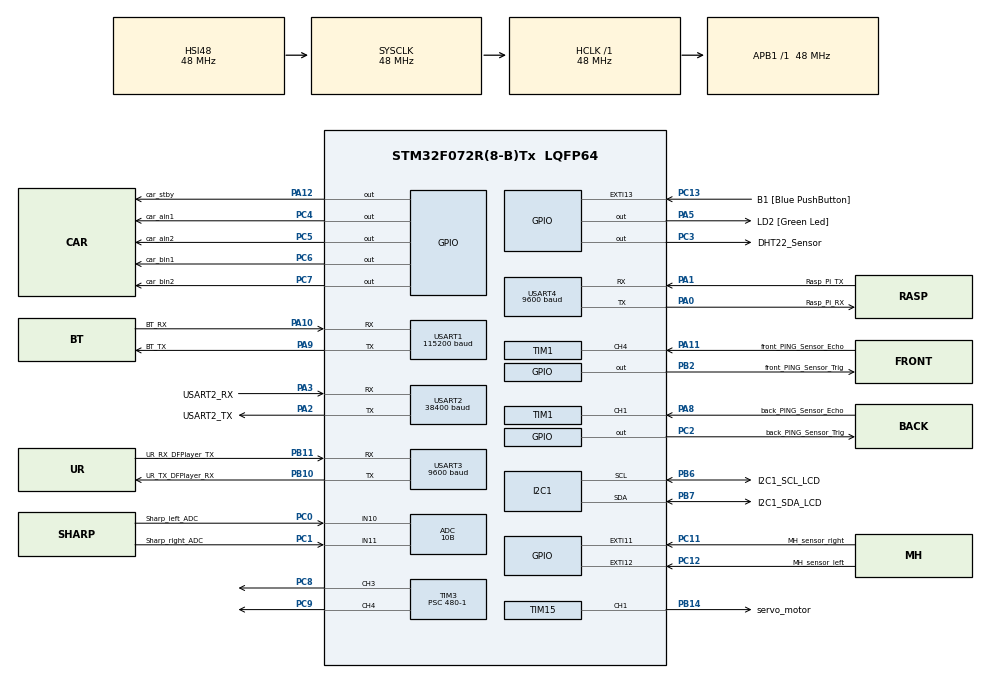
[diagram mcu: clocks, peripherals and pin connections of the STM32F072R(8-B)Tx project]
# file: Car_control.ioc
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ADC.Resolution=ADC_RESOLUTION_10B
ADC.SamplingTime=ADC_SAMPLETIME_7CYCLES_5
Mcu.Family=STM32F0
Mcu.Name=STM32F072R(8-B)Tx
Mcu.Package=LQFP64
NVIC.EXTI4_15_IRQn=true\:3\:0\:true\:false\:true\:true\:false\:true
NVIC.TIM16_IRQn=true\:1\:0\:true\:false\:true\:true\:false\:true
NVIC.TIM1_CC_IRQn=true\:0\:0\:false\:false\:true\:true\:true\:true
NVIC.TIM6_DAC_IRQn=true\:1\:0\:true\:false\:true\:true\:false\:true
NVIC.TIM7_IRQn=true\:2\:0\:true\:false\:true\:true\:false\:true
NVIC.USART1_IRQn=true\:3\:0\:true\:false\:true\:true\:false\:true
NVIC.USART3_4_IRQn=true\:3\:0\:true\:false\:true\:true\:false\:true
PA0.GPIO_Label=Rasp_Pi_RX
PA0.Mode=Asynchronous
PA0.Signal=USART4_TX
PA1.GPIO_Label=Rasp_Pi_TX
PA1.Mode=Asynchronous
PA1.Signal=USART4_RX
PA10.GPIO_Label=BT_RX
PA10.Mode=Asynchronous
PA10.Signal=USART1_RX
PA11.GPIO_Label=front_PING_Sensor_Echo
PA11.GPIO_Speed=GPIO_SPEED_FREQ_LOW
PA11.Signal=S_TIM1_CH4
PA12.GPIO_Label=car_stby
PA12.PinState=GPIO_PIN_SET
PA12.Signal=GPIO_Output
PA13.GPIO_Label=TMS
PA13.Mode=Serial_Wire
PA13.Signal=SYS_SWDIO
PA14.GPIO_Label=TCK
PA14.Mode=Serial_Wire
PA14.Signal=SYS_SWCLK
PA2.GPIO_Label=USART2_TX
PA2.GPIO_Mode=GPIO_MODE_AF_PP
PA2.GPIO_PuPd=GPIO_NOPULL
PA2.GPIO_Speed=GPIO_SPEED_FREQ_LOW
PA2.Mode=Asynchronous
PA2.Signal=USART2_TX
PA3.GPIO_Label=USART2_RX
PA3.GPIO_Mode=GPIO_MODE_AF_PP
PA3.GPIO_PuPd=GPIO_NOPULL
PA3.GPIO_Speed=GPIO_SPEED_FREQ_LOW
PA3.Mode=Asynchronous
PA3.Signal=USART2_RX
PA5.GPIO_Label=LD2 [Green Led]
PA5.GPIO_Mode=GPIO_MODE_OUTPUT_PP
PA5.GPIO_PuPd=GPIO_NOPULL
PA5.GPIO_Speed=GPIO_SPEED_FREQ_LOW
PA5.Signal=GPIO_Output
PA8.GPIO_Label=back_PING_Sensor_Echo
PA8.Signal=S_TIM1_CH1
PA9.GPIO_Label=BT_TX
PA9.Mode=Asynchronous
PA9.Signal=USART1_TX
PB10.GPIO_Label=UR_TX_DFPlayer_RX
PB10.Mode=Asynchronous
PB10.Signal=USART3_TX
PB11.GPIO_Label=UR_RX_DFPlayer_TX
PB11.Mode=Asynchronous
PB11.Signal=USART3_RX
PB14.GPIO_Label=servo_motor
PB14.Signal=S_TIM15_CH1
PB2.GPIO_Label=front_PING_Sensor_Trig
PB2.Signal=GPIO_Output
PB6.GPIO_Label=I2C1_SCL_LCD
PB6.Mode=I2C
PB6.Signal=I2C1_SCL
PB7.GPIO_Label=I2C1_SDA_LCD
PB7.Mode=I2C
PB7.Signal=I2C1_SDA
PC0.GPIO_Label=Sharp_left_ADC
PC0.Mode=IN10
PC0.Signal=ADC_IN10
PC1.GPIO_Label=Sharp_right_ADC
PC1.Mode=IN11
PC1.Signal=ADC_IN11
PC11.GPIO_Label=MH_sensor_right
PC11.GPIO_ModeDefaultEXTI=GPIO_MODE_IT_FALLING
PC11.GPIO_PuPd=GPIO_PULLUP
PC11.Signal=GPXTI11
PC12.GPIO_Label=MH_sensor_left
PC12.GPIO_ModeDefaultEXTI=GPIO_MODE_IT_FALLING
PC12.GPIO_PuPd=GPIO_PULLUP
PC12.Signal=GPXTI12
PC13.GPIO_Label=B1 [Blue PushButton]
PC13.GPIO_ModeDefaultEXTI=GPIO_MODE_IT_FALLING
PC13.Signal=GPXTI13
PC14-OSC32_IN.Mode=LSE-External-Oscillator
PC14-OSC32_IN.Signal=RCC_OSC32_IN
PC15-OSC32_OUT.Mode=LSE-External-Oscillator
PC15-OSC32_OUT.Signal=RCC_OSC32_OUT
PC2.GPIO_Label=back_PING_Sensor_Trig
PC2.Signal=GPIO_Output
PC3.GPIO_Label=DHT22_Sensor
PC3.Signal=GPIO_Output
PC4.GPIO_Label=car_ain1
PC4.Signal=GPIO_Output
PC5.GPIO_Label=car_ain2
PC5.Signal=GPIO_Output
PC6.GPIO_Label=car_bin1
PC6.Signal=GPIO_Output
PC7.GPIO_Label=car_bin2
PC7.Signal=GPIO_Output
PC8.Signal=S_TIM3_CH3
PC9.Signal=S_TIM3_CH4
PF0-OSC_IN.Mode=HSE-External-Clock-Source
PF0-OSC_IN.Signal=RCC_OSC_IN
PF1-OSC_OUT.Signal=RCC_OSC_OUT
ProjectManager.HeapSize=0x200
ProjectManager.StackSize=0x400
ProjectManager.TargetToolchain=MDK-ARM V5.32
RCC.AHBFreq_Value=48000000
RCC.APB1Freq_Value=48000000
RCC.APB1TimFreq_Value=48000000
RCC.FLatency-AdvancedSettings=FLASH_LATENCY_1
RCC.HCLKFreq_Value=48000000
RCC.PLLDivider=RCC_PREDIV_DIV2
RCC.PLLMUL=RCC_PLL_MUL12
RCC.PREFETCH_ENABLE-AdvancedSettings=1
RCC.SYSCLKFreq_VALUE=48000000
RCC.SYSCLKSource=RCC_SYSCLKSOURCE_HSI48
SH.S_TIM15_CH1.0=TIM15_CH1,PWM Generation1 CH1
SH.S_TIM1_CH1.0=TIM1_CH1,Input_Capture1_from_TI1
SH.S_TIM1_CH4.0=TIM1_CH4,Input_Capture4_from_TI4
SH.S_TIM3_CH3.0=TIM3_CH3,PWM Generation3 CH3
SH.S_TIM3_CH4.0=TIM3_CH4,PWM Generation4 CH4
TIM1.Channel-Input_Capture1_from_TI1=TIM_CHANNEL_1
TIM1.Channel-Input_Capture4_from_TI4=TIM_CHANNEL_4
TIM1.Period=65535-1
TIM1.Prescaler=48-1
TIM15.AutoReloadPreload=TIM_AUTORELOAD_PRELOAD_ENABLE
TIM15.Channel-PWM\ Generation1\ CH1=TIM_CHANNEL_1
TIM15.Period=1000-1
TIM15.Prescaler=960-1
TIM16.AutoReloadPreload=TIM_AUTORELOAD_PRELOAD_ENABLE
TIM16.Period=10-1
TIM16.Prescaler=48-1
TIM3.AutoReloadPreload=TIM_AUTORELOAD_PRELOAD_ENABLE
TIM3.Channel-PWM\ Generation3\ CH3=TIM_CHANNEL_3
TIM3.Channel-PWM\ Generation4\ CH4=TIM_CHANNEL_4
TIM3.Period=100-1
TIM3.Prescaler=480-1
TIM3.TIM_MasterOutputTrigger=TIM_TRGO_RESET
TIM6.AutoReloadPreload=TIM_AUTORELOAD_PRELOAD_ENABLE
TIM6.Period=1000-1
TIM6.Prescaler=48-1
TIM7.AutoReloadPreload=TIM_AUTORELOAD_PRELOAD_ENABLE
TIM7.Period=1000-1
TIM7.Prescaler=4800-1
USART1.BaudRate=115200
USART1.OverrunDisableParam=ADVFEATURE_OVERRUN_DISABLE
USART1.VirtualMode-Asynchronous=VM_ASYNC
USART2.BaudRate=38400
USART2.VirtualMode=VM_ASYNC
USART2.VirtualMode-Asynchronous=VM_ASYNC
USART3.BaudRate=9600
USART3.OverrunDisableParam=ADVFEATURE_OVERRUN_DISABLE
USART3.VirtualMode-Asynchronous=VM_ASYNC
USART4.BaudRate=9600
USART4.OverrunDisableParam=ADVFEATURE_OVERRUN_DISABLE
USART4.VirtualMode-Asynchronous=VM_ASYNC
VP_TIM16_VS_ClockSourceINT.Mode=Enable_Timer
VP_TIM6_VS_ClockSourceINT.Mode=Enable_Timer
VP_TIM7_VS_ClockSourceINT.Mode=Enable_Timer
board=NUCLEO-F072RB

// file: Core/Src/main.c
/* USER CODE BEGIN Header */
/**
  ******************************************************************************
  * @file           : main.c
  * @brief          : Main program body
  ******************************************************************************
  * @attention
  *
  * Copyright (c) 2024 STMicroelectronics.
  * All rights reserved.
  *
  * This software is licensed under terms that can be found in the LICENSE file
  * in the root directory of this software component.
  * If no LICENSE file comes with this software, it is provided AS-IS.
  *
  ******************************************************************************
  */
/* USER CODE END Header */
#include "main.h"

/* USER CODE BEGIN Includes */
#include <stdio.h>
#include "Car_control.h"
#include "Timer_control.h"
#include "i2c-lcd.h"
#include "DHT22_Function.h"
#include "DFPLAYER_MINI.h"
/* USER CODE END Includes */

/* USER CODE BEGIN PD */
#define Back_TRIG 	GPIO_PIN_2
#define Front_TRIG 	GPIO_PIN_2

/* USER CODE END PD */

ADC_HandleTypeDef hadc;

I2C_HandleTypeDef hi2c1;

TIM_HandleTypeDef htim1;
TIM_HandleTypeDef htim3;
TIM_HandleTypeDef htim6;
TIM_HandleTypeDef htim7;
TIM_HandleTypeDef htim15;
TIM_HandleTypeDef htim16;

UART_HandleTypeDef huart1;
UART_HandleTypeDef huart2;
UART_HandleTypeDef huart3;
UART_HandleTypeDef huart4;

/* USER CODE BEGIN PV */
volatile uint32_t Car_state;
bool servo_motor_flag = false;
uint8_t times = 0;
bool lcd_flag = false;
/*DHT22 variables*/
float Temperature = 0;
float Humidity = 0;
uint8_t Presence = 0;
uint8_t Rh_byte1, Rh_byte2, Temp_byte1, Temp_byte2;
uint16_t SUM, RH, TEMP;
/* USER CODE END PV */

void SystemClock_Config(void);
static void MX_GPIO_Init(void);
static void MX_TIM3_Init(void);
static void MX_USART2_UART_Init(void);
static void MX_USART1_UART_Init(void);
static void MX_TIM6_Init(void);
static void MX_TIM7_Init(void);
static void MX_TIM16_Init(void);
static void MX_TIM1_Init(void);
static void MX_TIM15_Init(void);
static void MX_ADC_Init(void);
static void MX_I2C1_Init(void);
static void MX_USART3_UART_Init(void);
static void MX_USART4_UART_Init(void);

/* USER CODE BEGIN 0 */

/************************************ TIM 1 PWM CaptureCallback Function ************************************/
uint32_t IC_Val1 = 0;
uint32_t IC_Val2 = 0;
uint32_t Difference = 0;
uint8_t Is_First_Captured = 0;
uint8_t Distance = 100;
void HAL_TIM_IC_CaptureCallback(TIM_HandleTypeDef *htim) {
	/**** TIM 1 Channel 1 ****/
	if(htim->Channel == HAL_TIM_ACTIVE_CHANNEL_1) { 							// if the interrupt source is channel 1
		if(Is_First_Captured ==0) { 																// if the first value is not captured
			IC_Val1 = HAL_TIM_ReadCapturedValue(htim, TIM_CHANNEL_1); // read the first value
			Is_First_Captured = 1; 																		// set the first captured as true
			//Now change the polarity to falling edge
			__HAL_TIM_SET_CAPTUREPOLARITY(htim, TIM_CHANNEL_1, TIM_INPUTCHANNELPOLARITY_FALLING);
		}
		else if(Is_First_Captured == 1) { 													// if the first value is already captured
			IC_Val2 = HAL_TIM_ReadCapturedValue(htim, TIM_CHANNEL_1); // read second value
			__HAL_TIM_SetCounter(htim, 0); 														// reset the counter
			if(IC_Val2 > IC_Val1) {
				Difference = IC_Val2 - IC_Val1;
			}
			else if (IC_Val1 > IC_Val2) {
				Difference = (0xffff-IC_Val1)+IC_Val2;
			}
			Distance = Difference * .034/2;
			Is_First_Captured = 0; 																		// set it back to false

			// set polarity to rising edge
			__HAL_TIM_SET_CAPTUREPOLARITY(htim, TIM_CHANNEL_1, TIM_INPUTCHANNELPOLARITY_RISING);
			__HAL_TIM_DISABLE_IT(&htim1, TIM_IT_CC1);
		}
	}
	/**** TIM 1 Channel 4 ****/
	if(htim->Channel == HAL_TIM_ACTIVE_CHANNEL_4) {
		if(Is_First_Captured ==0) {
			IC_Val1 = HAL_TIM_ReadCapturedValue(htim, TIM_CHANNEL_4);
			Is_First_Captured = 1;
			__HAL_TIM_SET_CAPTUREPOLARITY(htim, TIM_CHANNEL_4, TIM_INPUTCHANNELPOLARITY_FALLING);
		}
		else if(Is_First_Captured == 1) { 													// if the first value is already captured
			IC_Val2 = HAL_TIM_ReadCapturedValue(htim, TIM_CHANNEL_4); // read second value
			__HAL_TIM_SetCounter(htim, 0); 														// reset the counter
			if(IC_Val2 > IC_Val1) {
				Difference = IC_Val2 - IC_Val1;
			}
			else if (IC_Val1 > IC_Val2) {
				Difference = (0xffff-IC_Val1)+IC_Val2;
			}
			Distance = Difference * .034/2;
			Is_First_Captured = 0; 																		// set it back to false

			// set polarity to rising edge
			__HAL_TIM_SET_CAPTUREPOLARITY(htim, TIM_CHANNEL_4, TIM_INPUTCHANNELPOLARITY_RISING);
			__HAL_TIM_DISABLE_IT(&htim1, TIM_IT_CC4);
		}
	}
}

void Back_PING_Sensor_Trig(void) {
	HAL_GPIO_WritePin(GPIOC, Back_TRIG, GPIO_PIN_RESET);
	Delay_timer16_10us(5);
	HAL_GPIO_WritePin(GPIOC, Back_TRIG, GPIO_PIN_SET);
	Delay_timer16_10us(5);
	HAL_GPIO_WritePin(GPIOC, Back_TRIG, GPIO_PIN_RESET);
	__HAL_TIM_ENABLE_IT(&htim1, TIM_IT_CC1); //Enable PWM Capture Mode
}
void Front_PING_Sensor_Trig(void) {
	HAL_GPIO_WritePin(GPIOB, Front_TRIG, GPIO_PIN_RESET);
	Delay_timer16_10us(5);
	HAL_GPIO_WritePin(GPIOB, Front_TRIG, GPIO_PIN_SET);
	Delay_timer16_10us(5);
	HAL_GPIO_WritePin(GPIOB, Front_TRIG, GPIO_PIN_RESET);
	__HAL_TIM_ENABLE_IT(&htim1, TIM_IT_CC4);
}
void DHT22_Read_and_Show(void) {
	DHT22_Start();
	Presence = DHT22_Check_Response();
	Rh_byte1 = DHT22_Read();
	Rh_byte2 = DHT22_Read();
	Temp_byte1 = DHT22_Read();
	Temp_byte2 = DHT22_Read();
	SUM = DHT22_Read();

	TEMP = ((Temp_byte1<<8)|Temp_byte2);
	RH = ((Rh_byte1<<8)|Rh_byte2);

	Temperature = (float) (TEMP/10.0);
	Humidity = (float) (RH/10.0);
	Display_Temp(Temperature);
	Display_Rh(Humidity);
}

/* USER CODE END 0 */

int main(void)
{

  /* MCU Configuration--------------------------------------------------------*/

  /* Reset of all peripherals, Initializes the Flash interface and the Systick. */
  HAL_Init();

  /* Configure the system clock */
  SystemClock_Config();

  /* Initialize all configured peripherals */
  MX_GPIO_Init();
  MX_TIM3_Init();
	MX_ADC_Init();
	MX_I2C1_Init();
  MX_USART3_UART_Init();
  MX_USART4_UART_Init();
  MX_USART2_UART_Init();
  MX_USART1_UART_Init();
  MX_TIM6_Init();
  MX_TIM7_Init();
  MX_TIM16_Init();
  MX_TIM1_Init();
  MX_TIM15_Init();
  /* USER CODE BEGIN 2 */
	DF_Init(10);
	DF_PlayFromStart();
	DHT22_Start();//DHT22 PIN Need to Initial
	lcd_init();
	lcd_put_cur(0,5);
	lcd_send_string("SYSTEM");
	lcd_put_cur(1,0);
	lcd_send_string("INITIALIZING");
	Delay_timer6_1ms(2800);
	lcd_send_string(">");
	Delay_timer6_1ms(2800);
	lcd_send_string(">");
	Delay_timer6_1ms(2800);
	lcd_send_string(">");
	Delay_timer6_1ms(2800);
	lcd_send_string(">");
	Delay_timer6_1ms(2800);
	lcd_clear();
	Enable_PWM_CH3();
	Enable_PWM_CH4();
  /* USER CODE END 2 */

  /* Infinite loop */
  /* USER CODE BEGIN WHILE */
  while (1)
  {
		/****PING Sensor and LCD****/
		if(Car_state == Car_stop && Car_mod == Stby_mode) {
			DHT22_Read_and_Show();
			lcd_put_cur(0,2);
			lcd_send_string("Car standby");
			Delay_timer6_1ms(600);
			lcd_clear();
		}
		else if(Car_state != Car_back && Car_mod == OA_mode){
			if(lcd_flag) {
				Delay_timer6_1ms(200);
				lcd_clear();
				Delay_timer6_1ms(200);
				lcd_flag = false;
			}
			lcd_put_cur(0,4);
			lcd_send_string("OA mode");
			if(Car_state != Car_stop) {
				HAL_TIM_IC_Start_IT(&htim1, TIM_CHANNEL_4);
				Front_PING_Sensor_Trig();
				if(Distance <= 14) {
					HAL_TIM_PWM_Start_IT(&htim15, TIM_CHANNEL_1); //servo motor use PWM
					PWM_Level_TIM15_CH1(75);
					Car_direction(Car_stop);
					servo_motor_flag = true;
					while(servo_motor_flag) {
						obstacle_avoidance_cmd();
						times = 0;
						while(times < 30) {
							Front_PING_Sensor_Trig();
							times++;
						}
					}
					HAL_TIM_PWM_Stop_IT(&htim15, TIM_CHANNEL_1);
				}
			}

		}
		else if(Car_state != Car_back && Car_mod == TC_mode){
			if(lcd_flag) {
				Delay_timer6_1ms(200);
				lcd_clear();
				Delay_timer6_1ms(200);
				lcd_flag = false;
			}
			lcd_put_cur(0,4);
			lcd_send_string("TC mode");
		}
		else if(Car_state != Car_back && Car_mod == Normal_mode){
			if(lcd_flag) {
				Delay_timer6_1ms(200);
				lcd_clear();
				lcd_flag = false;
			}
			lcd_put_cur(0,2);
			lcd_send_string("Normal mode");
		}
		else if(Car_state == Car_back) {
			Delay_timer6_1ms(500);
			lcd_put_cur(0,2);
			lcd_send_string("Parking mode");
			Delay_timer6_1ms(500);
			lcd_clear();
			HAL_TIM_IC_Start_IT(&htim1, TIM_CHANNEL_1);
			Back_PING_Sensor_Trig();
			Parking_sensors_cmd();
		}
    /* USER CODE END WHILE */

  }
}

void SystemClock_Config(void)
{
  RCC_OscInitTypeDef RCC_OscInitStruct = {0};
  RCC_ClkInitTypeDef RCC_ClkInitStruct = {0};
  RCC_PeriphCLKInitTypeDef PeriphClkInit = {0};

  /** Initializes the RCC Oscillators according to the specified parameters
  * in the RCC_OscInitTypeDef structure.
  */
  RCC_OscInitStruct.OscillatorType = RCC_OSCILLATORTYPE_HSI|RCC_OSCILLATORTYPE_HSI14
                              |RCC_OSCILLATORTYPE_HSI48;
  RCC_OscInitStruct.HSIState = RCC_HSI_ON;
  RCC_OscInitStruct.HSI48State = RCC_HSI48_ON;
  RCC_OscInitStruct.HSI14State = RCC_HSI14_ON;
  RCC_OscInitStruct.HSICalibrationValue = RCC_HSICALIBRATION_DEFAULT;
  RCC_OscInitStruct.HSI14CalibrationValue = 16;
  RCC_OscInitStruct.PLL.PLLState = RCC_PLL_NONE;
  if (HAL_RCC_OscConfig(&RCC_OscInitStruct) != HAL_OK)
  {
    Error_Handler();
  }

  /** Initializes the CPU, AHB and APB buses clocks
  */
  RCC_ClkInitStruct.ClockType = RCC_CLOCKTYPE_HCLK|RCC_CLOCKTYPE_SYSCLK
                              |RCC_CLOCKTYPE_PCLK1;
  RCC_ClkInitStruct.SYSCLKSource = RCC_SYSCLKSOURCE_HSI48;
  RCC_ClkInitStruct.AHBCLKDivider = RCC_SYSCLK_DIV1;
  RCC_ClkInitStruct.APB1CLKDivider = RCC_HCLK_DIV1;

  if (HAL_RCC_ClockConfig(&RCC_ClkInitStruct, FLASH_LATENCY_1) != HAL_OK)
  {
    Error_Handler();
  }
  PeriphClkInit.PeriphClockSelection = RCC_PERIPHCLK_USART1|RCC_PERIPHCLK_USART2
                              |RCC_PERIPHCLK_I2C1;
  PeriphClkInit.Usart1ClockSelection = RCC_USART1CLKSOURCE_PCLK1;
  PeriphClkInit.Usart2ClockSelection = RCC_USART2CLKSOURCE_PCLK1;
  PeriphClkInit.I2c1ClockSelection = RCC_I2C1CLKSOURCE_HSI;
  if (HAL_RCCEx_PeriphCLKConfig(&PeriphClkInit) != HAL_OK)
  {
    Error_Handler();
  }
}

static void MX_ADC_Init(void)
{

  ADC_ChannelConfTypeDef sConfig = {0};

  /** Configure the global features of the ADC (Clock, Resolution, Data Alignment and number of conversion)
  */
  hadc.Instance = ADC1;
  hadc.Init.ClockPrescaler = ADC_CLOCK_ASYNC_DIV1;
  hadc.Init.Resolution = ADC_RESOLUTION_10B;
  hadc.Init.DataAlign = ADC_DATAALIGN_RIGHT;
  hadc.Init.ScanConvMode = ADC_SCAN_DIRECTION_FORWARD;
  hadc.Init.EOCSelection = ADC_EOC_SINGLE_CONV;
  hadc.Init.LowPowerAutoWait = DISABLE;
  hadc.Init.LowPowerAutoPowerOff = DISABLE;
  hadc.Init.ContinuousConvMode = DISABLE;
  hadc.Init.DiscontinuousConvMode = DISABLE;
  hadc.Init.ExternalTrigConv = ADC_SOFTWARE_START;
  hadc.Init.ExternalTrigConvEdge = ADC_EXTERNALTRIGCONVEDGE_NONE;
  hadc.Init.DMAContinuousRequests = DISABLE;
  hadc.Init.Overrun = ADC_OVR_DATA_PRESERVED;
  if (HAL_ADC_Init(&hadc) != HAL_OK)
  {
    Error_Handler();
  }

  /** Configure for the selected ADC regular channel to be converted.
  */
  sConfig.Channel = ADC_CHANNEL_10;
  sConfig.Rank = ADC_RANK_CHANNEL_NUMBER;
  sConfig.SamplingTime = ADC_SAMPLETIME_7CYCLES_5;
  if (HAL_ADC_ConfigChannel(&hadc, &sConfig) != HAL_OK)
  {
    Error_Handler();
  }

  /** Configure for the selected ADC regular channel to be converted.
  */
  sConfig.Channel = ADC_CHANNEL_11;
  if (HAL_ADC_ConfigChannel(&hadc, &sConfig) != HAL_OK)
  {
    Error_Handler();
  }
  /* USER CODE BEGIN ADC_Init 2 */
	RCC->CR2 &= ~(0x1ul<<2);
	ADC1->CR |= 0x1ul;
	while((ADC1->ISR & 0x1ul) == 0);
  /* USER CODE END ADC_Init 2 */

}

static void MX_I2C1_Init(void)
{

  hi2c1.Instance = I2C1;
  hi2c1.Init.Timing = 0x2000090E;
  hi2c1.Init.OwnAddress1 = 0;
  hi2c1.Init.AddressingMode = I2C_ADDRESSINGMODE_7BIT;
  hi2c1.Init.DualAddressMode = I2C_DUALADDRESS_DISABLE;
  hi2c1.Init.OwnAddress2 = 0;
  hi2c1.Init.OwnAddress2Masks = I2C_OA2_NOMASK;
  hi2c1.Init.GeneralCallMode = I2C_GENERALCALL_DISABLE;
  hi2c1.Init.NoStretchMode = I2C_NOSTRETCH_DISABLE;
  if (HAL_I2C_Init(&hi2c1) != HAL_OK)
  {
    Error_Handler();
  }

  /** Configure Analogue filter
  */
  if (HAL_I2CEx_ConfigAnalogFilter(&hi2c1, I2C_ANALOGFILTER_ENABLE) != HAL_OK)
  {
    Error_Handler();
  }

  /** Configure Digital filter
  */
  if (HAL_I2CEx_ConfigDigitalFilter(&hi2c1, 0) != HAL_OK)
  {
    Error_Handler();
  }

}

static void MX_TIM1_Init(void)
{

  TIM_MasterConfigTypeDef sMasterConfig = {0};
  TIM_IC_InitTypeDef sConfigIC = {0};

  htim1.Instance = TIM1;
  htim1.Init.Prescaler = 48-1;
  htim1.Init.CounterMode = TIM_COUNTERMODE_UP;
  htim1.Init.Period = 65535-1;
  htim1.Init.ClockDivision = TIM_CLOCKDIVISION_DIV1;
  htim1.Init.RepetitionCounter = 0;
  htim1.Init.AutoReloadPreload = TIM_AUTORELOAD_PRELOAD_DISABLE;
  if (HAL_TIM_IC_Init(&htim1) != HAL_OK)
  {
    Error_Handler();
  }
  sMasterConfig.MasterOutputTrigger = TIM_TRGO_RESET;
  sMasterConfig.MasterSlaveMode = TIM_MASTERSLAVEMODE_DISABLE;
  if (HAL_TIMEx_MasterConfigSynchronization(&htim1, &sMasterConfig) != HAL_OK)
  {
    Error_Handler();
  }
  sConfigIC.ICPolarity = TIM_INPUTCHANNELPOLARITY_RISING;
  sConfigIC.ICSelection = TIM_ICSELECTION_DIRECTTI;
  sConfigIC.ICPrescaler = TIM_ICPSC_DIV1;
  sConfigIC.ICFilter = 0;
  if (HAL_TIM_IC_ConfigChannel(&htim1, &sConfigIC, TIM_CHANNEL_1) != HAL_OK)
  {
    Error_Handler();
  }
  if (HAL_TIM_IC_ConfigChannel(&htim1, &sConfigIC, TIM_CHANNEL_4) != HAL_OK)
  {
    Error_Handler();
  }

}

static void MX_TIM3_Init(void)
{

  TIM_MasterConfigTypeDef sMasterConfig = {0};
  TIM_OC_InitTypeDef sConfigOC = {0};

  htim3.Instance = TIM3;
  htim3.Init.Prescaler = 480-1;
  htim3.Init.CounterMode = TIM_COUNTERMODE_UP;
  htim3.Init.Period = 100-1;
  htim3.Init.ClockDivision = TIM_CLOCKDIVISION_DIV1;
  htim3.Init.AutoReloadPreload = TIM_AUTORELOAD_PRELOAD_ENABLE;
  if (HAL_TIM_PWM_Init(&htim3) != HAL_OK)
  {
    Error_Handler();
  }
  sMasterConfig.MasterOutputTrigger = TIM_TRGO_RESET;
  sMasterConfig.MasterSlaveMode = TIM_MASTERSLAVEMODE_DISABLE;
  if (HAL_TIMEx_MasterConfigSynchronization(&htim3, &sMasterConfig) != HAL_OK)
  {
    Error_Handler();
  }
  sConfigOC.OCMode = TIM_OCMODE_PWM1;
  sConfigOC.Pulse = 0;
  sConfigOC.OCPolarity = TIM_OCPOLARITY_HIGH;
  sConfigOC.OCFastMode = TIM_OCFAST_DISABLE;
  if (HAL_TIM_PWM_ConfigChannel(&htim3, &sConfigOC, TIM_CHANNEL_3) != HAL_OK)
  {
    Error_Handler();
  }
  if (HAL_TIM_PWM_ConfigChannel(&htim3, &sConfigOC, TIM_CHANNEL_4) != HAL_OK)
  {
    Error_Handler();
  }
  HAL_TIM_MspPostInit(&htim3);

}

static void MX_TIM6_Init(void)
{

  TIM_MasterConfigTypeDef sMasterConfig = {0};

  htim6.Instance = TIM6;
  htim6.Init.Prescaler = 48-1;
  htim6.Init.CounterMode = TIM_COUNTERMODE_UP;
  htim6.Init.Period = 1000-1;
  htim6.Init.AutoReloadPreload = TIM_AUTORELOAD_PRELOAD_ENABLE;
  if (HAL_TIM_Base_Init(&htim6) != HAL_OK)
  {
    Error_Handler();
  }
  sMasterConfig.MasterOutputTrigger = TIM_TRGO_RESET;
  sMasterConfig.MasterSlaveMode = TIM_MASTERSLAVEMODE_DISABLE;
  if (HAL_TIMEx_MasterConfigSynchronization(&htim6, &sMasterConfig) != HAL_OK)
  {
    Error_Handler();
  }
  /* USER CODE BEGIN TIM6_Init 2 */
	TIM6->CR1 |= 0x1ul;
	TIM6->DIER |= 0x1ul;
  /* USER CODE END TIM6_Init 2 */

}

static void MX_TIM7_Init(void)
{

  TIM_MasterConfigTypeDef sMasterConfig = {0};

  htim7.Instance = TIM7;
  htim7.Init.Prescaler = 4800-1;
  htim7.Init.CounterMode = TIM_COUNTERMODE_UP;
  htim7.Init.Period = 1000-1;
  htim7.Init.AutoReloadPreload = TIM_AUTORELOAD_PRELOAD_ENABLE;
  if (HAL_TIM_Base_Init(&htim7) != HAL_OK)
  {
    Error_Handler();
  }
  sMasterConfig.MasterOutputTrigger = TIM_TRGO_RESET;
  sMasterConfig.MasterSlaveMode = TIM_MASTERSLAVEMODE_DISABLE;
  if (HAL_TIMEx_MasterConfigSynchronization(&htim7, &sMasterConfig) != HAL_OK)
  {
    Error_Handler();
  }
  /* USER CODE BEGIN TIM7_Init 2 */
	TIM7->CR1 |= 0x1ul;
	TIM7->DIER |= 0x1ul;
  /* USER CODE END TIM7_Init 2 */

}

static void MX_TIM15_Init(void)
{

  TIM_MasterConfigTypeDef sMasterConfig = {0};
  TIM_OC_InitTypeDef sConfigOC = {0};
  TIM_BreakDeadTimeConfigTypeDef sBreakDeadTimeConfig = {0};

  htim15.Instance = TIM15;
  htim15.Init.Prescaler = 960-1;
  htim15.Init.CounterMode = TIM_COUNTERMODE_UP;
  htim15.Init.Period = 1000-1;
  htim15.Init.ClockDivision = TIM_CLOCKDIVISION_DIV1;
  htim15.Init.RepetitionCounter = 0;
  htim15.Init.AutoReloadPreload = TIM_AUTORELOAD_PRELOAD_ENABLE;
  if (HAL_TIM_PWM_Init(&htim15) != HAL_OK)
  {
    Error_Handler();
  }
  sMasterConfig.MasterOutputTrigger = TIM_TRGO_RESET;
  sMasterConfig.MasterSlaveMode = TIM_MASTERSLAVEMODE_DISABLE;
  if (HAL_TIMEx_MasterConfigSynchronization(&htim15, &sMasterConfig) != HAL_OK)
  {
    Error_Handler();
  }
  sConfigOC.OCMode = TIM_OCMODE_PWM1;
  sConfigOC.Pulse = 0;
  sConfigOC.OCPolarity = TIM_OCPOLARITY_HIGH;
  sConfigOC.OCNPolarity = TIM_OCNPOLARITY_HIGH;
  sConfigOC.OCFastMode = TIM_OCFAST_DISABLE;
  sConfigOC.OCIdleState = TIM_OCIDLESTATE_RESET;
  sConfigOC.OCNIdleState = TIM_OCNIDLESTATE_RESET;
  if (HAL_TIM_PWM_ConfigChannel(&htim15, &sConfigOC, TIM_CHANNEL_1) != HAL_OK)
  {
    Error_Handler();
  }
  sBreakDeadTimeConfig.OffStateRunMode = TIM_OSSR_DISABLE;
  sBreakDeadTimeConfig.OffStateIDLEMode = TIM_OSSI_DISABLE;
  sBreakDeadTimeConfig.LockLevel = TIM_LOCKLEVEL_OFF;
  sBreakDeadTimeConfig.DeadTime = 0;
  sBreakDeadTimeConfig.BreakState = TIM_BREAK_DISABLE;
  sBreakDeadTimeConfig.BreakPolarity = TIM_BREAKPOLARITY_HIGH;
  sBreakDeadTimeConfig.AutomaticOutput = TIM_AUTOMATICOUTPUT_DISABLE;
  if (HAL_TIMEx_ConfigBreakDeadTime(&htim15, &sBreakDeadTimeConfig) != HAL_OK)
  {
    Error_Handler();
  }
  HAL_TIM_MspPostInit(&htim15);

}

static void MX_TIM16_Init(void)
{

  htim16.Instance = TIM16;
  htim16.Init.Prescaler = 48-1;
  htim16.Init.CounterMode = TIM_COUNTERMODE_UP;
  htim16.Init.Period = 10-1;
  htim16.Init.ClockDivision = TIM_CLOCKDIVISION_DIV1;
  htim16.Init.RepetitionCounter = 0;
  htim16.Init.AutoReloadPreload = TIM_AUTORELOAD_PRELOAD_ENABLE;
  if (HAL_TIM_Base_Init(&htim16) != HAL_OK)
  {
    Error_Handler();
  }
  /* USER CODE BEGIN TIM16_Init 2 */
	TIM16->CR1 |= 0x1ul;
	TIM16->DIER |= 0x1ul;
  /* USER CODE END TIM16_Init 2 */

}

static void MX_USART1_UART_Init(void)
{

  huart1.Instance = USART1;
  huart1.Init.BaudRate = 115200;
  huart1.Init.WordLength = UART_WORDLENGTH_8B;
  huart1.Init.StopBits = UART_STOPBITS_1;
  huart1.Init.Parity = UART_PARITY_NONE;
  huart1.Init.Mode = UART_MODE_TX_RX;
  huart1.Init.HwFlowCtl = UART_HWCONTROL_NONE;
  huart1.Init.OverSampling = UART_OVERSAMPLING_16;
  huart1.Init.OneBitSampling = UART_ONE_BIT_SAMPLE_DISABLE;
  huart1.AdvancedInit.AdvFeatureInit = UART_ADVFEATURE_RXOVERRUNDISABLE_INIT;
  huart1.AdvancedInit.OverrunDisable = UART_ADVFEATURE_OVERRUN_DISABLE;
  if (HAL_UART_Init(&huart1) != HAL_OK)
  {
    Error_Handler();
  }
  /* USER CODE BEGIN USART1_Init 2 */
	USART1->CR1 |= 0x1ul<<5;
	USART1->ICR |= 0x1ul<<6;
  /* USER CODE END USART1_Init 2 */

}

static void MX_USART2_UART_Init(void)
{

  huart2.Instance = USART2;
  huart2.Init.BaudRate = 38400;
  huart2.Init.WordLength = UART_WORDLENGTH_8B;
  huart2.Init.StopBits = UART_STOPBITS_1;
  huart2.Init.Parity = UART_PARITY_NONE;
  huart2.Init.Mode = UART_MODE_TX_RX;
  huart2.Init.HwFlowCtl = UART_HWCONTROL_NONE;
  huart2.Init.OverSampling = UART_OVERSAMPLING_16;
  huart2.Init.OneBitSampling = UART_ONE_BIT_SAMPLE_DISABLE;
  huart2.AdvancedInit.AdvFeatureInit = UART_ADVFEATURE_NO_INIT;
  if (HAL_UART_Init(&huart2) != HAL_OK)
  {
    Error_Handler();
  }

}

static void MX_USART3_UART_Init(void)
{

  huart3.Instance = USART3;
  huart3.Init.BaudRate = 9600;
  huart3.Init.WordLength = UART_WORDLENGTH_8B;
  huart3.Init.StopBits = UART_STOPBITS_1;
  huart3.Init.Parity = UART_PARITY_NONE;
  huart3.Init.Mode = UART_MODE_TX_RX;
  huart3.Init.HwFlowCtl = UART_HWCONTROL_NONE;
  huart3.Init.OverSampling = UART_OVERSAMPLING_16;
  huart3.Init.OneBitSampling = UART_ONE_BIT_SAMPLE_DISABLE;
  huart3.AdvancedInit.AdvFeatureInit = UART_ADVFEATURE_RXOVERRUNDISABLE_INIT;
  huart3.AdvancedInit.OverrunDisable = UART_ADVFEATURE_OVERRUN_DISABLE;
  if (HAL_UART_Init(&huart3) != HAL_OK)
  {
    Error_Handler();
  }

}

static void MX_USART4_UART_Init(void)
{

  huart4.Instance = USART4;
  huart4.Init.BaudRate = 9600;
  huart4.Init.WordLength = UART_WORDLENGTH_8B;
  huart4.Init.StopBits = UART_STOPBITS_1;
  huart4.Init.Parity = UART_PARITY_NONE;
  huart4.Init.Mode = UART_MODE_TX_RX;
  huart4.Init.HwFlowCtl = UART_HWCONTROL_NONE;
  huart4.Init.OverSampling = UART_OVERSAMPLING_16;
  huart4.Init.OneBitSampling = UART_ONE_BIT_SAMPLE_DISABLE;
  huart4.AdvancedInit.AdvFeatureInit = UART_ADVFEATURE_RXOVERRUNDISABLE_INIT;
  huart4.AdvancedInit.OverrunDisable = UART_ADVFEATURE_OVERRUN_DISABLE;
  if (HAL_UART_Init(&huart4) != HAL_OK)
  {
    Error_Handler();
  }
  /* USER CODE BEGIN USART4_Init 2 */
	USART4->CR1 |= 0x1ul<<5;
	USART4->ICR |= 0x1ul<<6;
  /* USER CODE END USART4_Init 2 */

}

static void MX_GPIO_Init(void)
{
  GPIO_InitTypeDef GPIO_InitStruct = {0};

  /* GPIO Ports Clock Enable */
  __HAL_RCC_GPIOC_CLK_ENABLE();
  __HAL_RCC_GPIOF_CLK_ENABLE();
  __HAL_RCC_GPIOA_CLK_ENABLE();
  __HAL_RCC_GPIOB_CLK_ENABLE();

  /*Configure GPIO pin Output Level */
  HAL_GPIO_WritePin(GPIOC, back_PING_Sensor_Trig_Pin|DHT22_Sensor_Pin|car_ain1_Pin|car_ain2_Pin
                          |car_bin1_Pin|car_bin2_Pin, GPIO_PIN_RESET);

  /*Configure GPIO pin Output Level */
  HAL_GPIO_WritePin(LD2_GPIO_Port, LD2_Pin, GPIO_PIN_RESET);

  /*Configure GPIO pin Output Level */
  HAL_GPIO_WritePin(front_PING_Sensor_Trig_GPIO_Port, front_PING_Sensor_Trig_Pin, GPIO_PIN_RESET);

  /*Configure GPIO pin Output Level */
  HAL_GPIO_WritePin(car_stby_GPIO_Port, car_stby_Pin, GPIO_PIN_SET);

  /*Configure GPIO pin : B1_Pin */
  GPIO_InitStruct.Pin = B1_Pin;
  GPIO_InitStruct.Mode = GPIO_MODE_IT_FALLING;
  GPIO_InitStruct.Pull = GPIO_NOPULL;
  HAL_GPIO_Init(B1_GPIO_Port, &GPIO_InitStruct);

  /*Configure GPIO pins : back_PING_Sensor_Trig_Pin DHT22_Sensor_Pin car_ain1_Pin car_ain2_Pin
                           car_bin1_Pin car_bin2_Pin */
  GPIO_InitStruct.Pin = back_PING_Sensor_Trig_Pin|DHT22_Sensor_Pin|car_ain1_Pin|car_ain2_Pin
                          |car_bin1_Pin|car_bin2_Pin;
  GPIO_InitStruct.Mode = GPIO_MODE_OUTPUT_PP;
  GPIO_InitStruct.Pull = GPIO_NOPULL;
  GPIO_InitStruct.Speed = GPIO_SPEED_FREQ_LOW;
  HAL_GPIO_Init(GPIOC, &GPIO_InitStruct);

  /*Configure GPIO pins : LD2_Pin car_stby_Pin */
  GPIO_InitStruct.Pin = LD2_Pin|car_stby_Pin;
  GPIO_InitStruct.Mode = GPIO_MODE_OUTPUT_PP;
  GPIO_InitStruct.Pull = GPIO_NOPULL;
  GPIO_InitStruct.Speed = GPIO_SPEED_FREQ_LOW;
  HAL_GPIO_Init(GPIOA, &GPIO_InitStruct);

  /*Configure GPIO pin : front_PING_Sensor_Trig_Pin */
  GPIO_InitStruct.Pin = front_PING_Sensor_Trig_Pin;
  GPIO_InitStruct.Mode = GPIO_MODE_OUTPUT_PP;
  GPIO_InitStruct.Pull = GPIO_NOPULL;
  GPIO_InitStruct.Speed = GPIO_SPEED_FREQ_LOW;
  HAL_GPIO_Init(front_PING_Sensor_Trig_GPIO_Port, &GPIO_InitStruct);

  /*Configure GPIO pins : MH_sensor_right_Pin MH_sensor_left_Pin */
  GPIO_InitStruct.Pin = MH_sensor_right_Pin|MH_sensor_left_Pin;
  GPIO_InitStruct.Mode = GPIO_MODE_IT_FALLING;
  GPIO_InitStruct.Pull = GPIO_PULLUP;
  HAL_GPIO_Init(GPIOC, &GPIO_InitStruct);

  /* EXTI interrupt init*/
  HAL_NVIC_SetPriority(EXTI4_15_IRQn, 3, 0);
  HAL_NVIC_EnableIRQ(EXTI4_15_IRQn);

}

void Error_Handler(void)
{
  __disable_irq();
  while (1)
  {
  }
}
